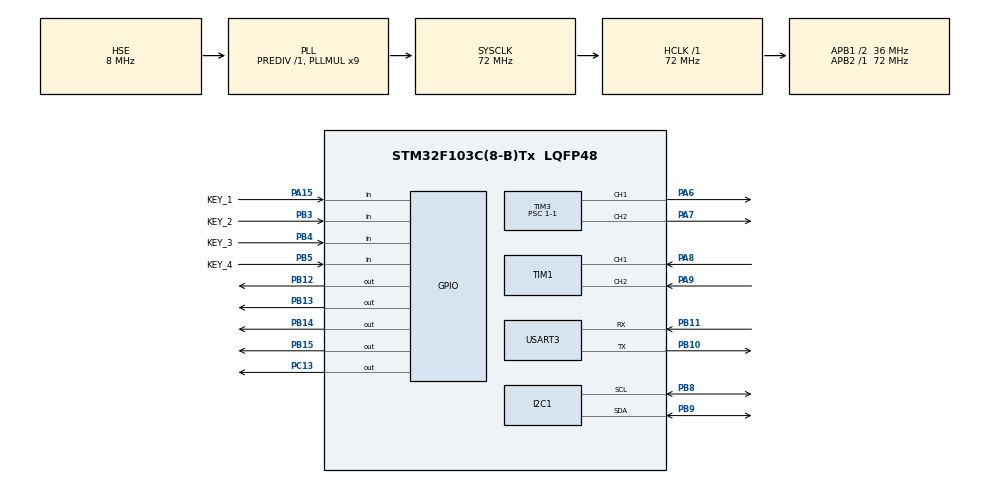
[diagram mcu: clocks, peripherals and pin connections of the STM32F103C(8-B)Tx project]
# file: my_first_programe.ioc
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FREERTOS.Tasks01=defaultTask,24,128,StartDefaultTask,Default,NULL,Dynamic,NULL,NULL;TEST,24,256,StartTask02,Default,NULL,Dynamic,NULL,NULL
FREERTOS.configTOTAL_HEAP_SIZE=6144
I2C1.I2C_Mode=I2C_Fast
Mcu.Family=STM32F1
Mcu.Name=STM32F103C(8-B)Tx
Mcu.Package=LQFP48
NVIC.PriorityGroup=NVIC_PRIORITYGROUP_4
NVIC.TIM2_IRQn=true\:15\:0\:false\:false\:true\:false\:false\:true\:true
NVIC.TimeBase=TIM2_IRQn
NVIC.TimeBaseIP=TIM2
NVIC.USART3_IRQn=true\:5\:0\:false\:false\:true\:true\:true\:true\:true
PA13.Mode=Serial_Wire
PA13.Signal=SYS_JTMS-SWDIO
PA14.Mode=Serial_Wire
PA14.Signal=SYS_JTCK-SWCLK
PA15.GPIO_Label=KEY_1
PA15.GPIO_PuPd=GPIO_PULLUP
PA15.Signal=GPIO_Input
PA6.Signal=S_TIM3_CH1
PA7.Signal=S_TIM3_CH2
PA8.GPIO_PuPd=GPIO_PULLUP
PA8.Signal=S_TIM1_CH1
PA9.GPIO_PuPd=GPIO_PULLUP
PA9.Signal=S_TIM1_CH2
PB10.Mode=Asynchronous
PB10.Signal=USART3_TX
PB11.Mode=Asynchronous
PB11.Signal=USART3_RX
PB12.Signal=GPIO_Output
PB13.Signal=GPIO_Output
PB14.Signal=GPIO_Output
PB15.Signal=GPIO_Output
PB3.GPIO_Label=KEY_2
PB3.GPIO_PuPd=GPIO_PULLUP
PB3.Signal=GPIO_Input
PB4.GPIO_Label=KEY_3
PB4.GPIO_PuPd=GPIO_PULLUP
PB4.Signal=GPIO_Input
PB5.GPIO_Label=KEY_4
PB5.GPIO_PuPd=GPIO_PULLUP
PB5.Signal=GPIO_Input
PB8.Mode=I2C
PB8.Signal=I2C1_SCL
PB9.Mode=I2C
PB9.Signal=I2C1_SDA
PC13-TAMPER-RTC.PinState=GPIO_PIN_SET
PC13-TAMPER-RTC.Signal=GPIO_Output
PD0-OSC_IN.Mode=HSE-External-Oscillator
PD0-OSC_IN.Signal=RCC_OSC_IN
PD1-OSC_OUT.Mode=HSE-External-Oscillator
PD1-OSC_OUT.Signal=RCC_OSC_OUT
ProjectManager.HeapSize=0x200
ProjectManager.StackSize=0x400
ProjectManager.TargetToolchain=CMake
RCC.AHBFreq_Value=72000000
RCC.APB1CLKDivider=RCC_HCLK_DIV2
RCC.APB1Freq_Value=36000000
RCC.APB1TimFreq_Value=72000000
RCC.APB2Freq_Value=72000000
RCC.APB2TimFreq_Value=72000000
RCC.HCLKFreq_Value=72000000
RCC.PLLMUL=RCC_PLL_MUL9
RCC.PLLSourceVirtual=RCC_PLLSOURCE_HSE
RCC.SYSCLKFreq_VALUE=72000000
RCC.SYSCLKSource=RCC_SYSCLKSOURCE_PLLCLK
RCC.USBFreq_Value=72000000
SH.S_TIM1_CH1.0=TIM1_CH1,Encoder_Interface
SH.S_TIM1_CH2.0=TIM1_CH2,Encoder_Interface
SH.S_TIM3_CH1.0=TIM3_CH1,PWM Generation1 CH1
SH.S_TIM3_CH2.0=TIM3_CH2,PWM Generation2 CH2
TIM1.EncoderMode=TIM_ENCODERMODE_TI12
TIM3.Channel-PWM\ Generation1\ CH1=TIM_CHANNEL_1
TIM3.Channel-PWM\ Generation2\ CH2=TIM_CHANNEL_2
TIM3.Period=7200-1
TIM3.Prescaler=1-1
USART3.VirtualMode=VM_ASYNC
VP_FREERTOS_VS_CMSIS_V2.Mode=CMSIS_V2
VP_SYS_VS_tim2.Mode=TIM2
board=custom

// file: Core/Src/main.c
/* USER CODE BEGIN Header */
/**
  ******************************************************************************
  * @file           : main.c
  * @brief          : Main program body
  ******************************************************************************
  * @attention
  *
  * Copyright (c) 2026 STMicroelectronics.
  * All rights reserved.
  *
  * This software is licensed under terms that can be found in the LICENSE file
  * in the root directory of this software component.
  * If no LICENSE file comes with this software, it is provided AS-IS.
  *
  ******************************************************************************
  */
/* USER CODE END Header */
#include "main.h"
#include "cmsis_os.h"
#include "i2c.h"
#include "tim.h"
#include "usart.h"
#include "gpio.h"

/* USER CODE BEGIN Includes */
#include "motor.h"
/* USER CODE END Includes */

void SystemClock_Config(void);
void MX_FREERTOS_Init(void);

int main(void)
{

  /* MCU Configuration--------------------------------------------------------*/

  /* Reset of all peripherals, Initializes the Flash interface and the Systick. */
  HAL_Init();

  /* Configure the system clock */
  SystemClock_Config();

  /* Initialize all configured peripherals */
  MX_GPIO_Init();
  MX_TIM3_Init();
  MX_USART3_UART_Init();
  MX_TIM1_Init();
  MX_I2C1_Init();

  /* Init scheduler */
  osKernelInitialize();  /* Call init function for freertos objects (in cmsis_os2.c) */
  MX_FREERTOS_Init();

  /* Start scheduler */
  osKernelStart();

  /* We should never get here as control is now taken by the scheduler */

  /* Infinite loop */
  while (1)
  {

  }
}

void SystemClock_Config(void)
{
  RCC_OscInitTypeDef RCC_OscInitStruct = {0};
  RCC_ClkInitTypeDef RCC_ClkInitStruct = {0};

  /** Initializes the RCC Oscillators according to the specified parameters
  * in the RCC_OscInitTypeDef structure.
  */
  RCC_OscInitStruct.OscillatorType = RCC_OSCILLATORTYPE_HSE;
  RCC_OscInitStruct.HSEState = RCC_HSE_ON;
  RCC_OscInitStruct.HSEPredivValue = RCC_HSE_PREDIV_DIV1;
  RCC_OscInitStruct.HSIState = RCC_HSI_ON;
  RCC_OscInitStruct.PLL.PLLState = RCC_PLL_ON;
  RCC_OscInitStruct.PLL.PLLSource = RCC_PLLSOURCE_HSE;
  RCC_OscInitStruct.PLL.PLLMUL = RCC_PLL_MUL9;
  if (HAL_RCC_OscConfig(&RCC_OscInitStruct) != HAL_OK)
  {
    Error_Handler();
  }

  /** Initializes the CPU, AHB and APB buses clocks
  */
  RCC_ClkInitStruct.ClockType = RCC_CLOCKTYPE_HCLK|RCC_CLOCKTYPE_SYSCLK
                              |RCC_CLOCKTYPE_PCLK1|RCC_CLOCKTYPE_PCLK2;
  RCC_ClkInitStruct.SYSCLKSource = RCC_SYSCLKSOURCE_PLLCLK;
  RCC_ClkInitStruct.AHBCLKDivider = RCC_SYSCLK_DIV1;
  RCC_ClkInitStruct.APB1CLKDivider = RCC_HCLK_DIV2;
  RCC_ClkInitStruct.APB2CLKDivider = RCC_HCLK_DIV1;

  if (HAL_RCC_ClockConfig(&RCC_ClkInitStruct, FLASH_LATENCY_2) != HAL_OK)
  {
    Error_Handler();
  }
}

void HAL_TIM_PeriodElapsedCallback(TIM_HandleTypeDef *htim)
{
  if (htim->Instance == TIM2)
  {
    HAL_IncTick();
  }
}

void Error_Handler(void)
{
  __disable_irq();
  while (1)
  {
  }
}

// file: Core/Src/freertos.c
/* USER CODE BEGIN Header */
/**
  ******************************************************************************
  * File Name          : freertos.c
  * Description        : Code for freertos applications
  ******************************************************************************
  * @attention
  *
  * Copyright (c) 2026 STMicroelectronics.
  * All rights reserved.
  *
  * This software is licensed under terms that can be found in the LICENSE file
  * in the root directory of this software component.
  * If no LICENSE file comes with this software, it is provided AS-IS.
  *
  ******************************************************************************
  */
/* USER CODE END Header */

#include "FreeRTOS.h"
#include "task.h"
#include "main.h"
#include "cmsis_os.h"

/* USER CODE BEGIN Includes */
#include "usart.h"
#include "motor.h"
#include "oled.h"
#include "menu.h"
#include <stdio.h>
#include <string.h>
#include "encoder.h"
/* USER CODE END Includes */

/* USER CODE BEGIN Variables */
volatile uint32_t test_cnt= 0;

/* USER CODE END Variables */
/* Definitions for defaultTask */
osThreadId_t defaultTaskHandle;
const osThreadAttr_t defaultTask_attributes = {
  .name = "defaultTask",
  .stack_size = 128 * 4,
  .priority = (osPriority_t) osPriorityNormal,
};
/* Definitions for TEST */
osThreadId_t TESTHandle;
const osThreadAttr_t TEST_attributes = {
  .name = "TEST",
  .stack_size = 256 * 4,
  .priority = (osPriority_t) osPriorityNormal,
};

void StartDefaultTask(void *argument);
void StartTask02(void *argument);

void MX_FREERTOS_Init(void); /* (MISRA C 2004 rule 8.1) */

void MX_FREERTOS_Init(void) {

  /* Create the thread(s) */
  /* creation of defaultTask */
  defaultTaskHandle = osThreadNew(StartDefaultTask, NULL, &defaultTask_attributes);

  /* creation of TEST */
  TESTHandle = osThreadNew(StartTask02, NULL, &TEST_attributes);

}

void StartDefaultTask(void *argument)
{
  /* USER CODE BEGIN StartDefaultTask */

	motor_init();
	encoder_init();
  motor_stop();

  for(;;)
  {
    osDelay(1000);
	}
  /* USER CODE END StartDefaultTask */
}

void StartTask02(void *argument)
{
  /* USER CODE BEGIN StartTask02 */
  key_init();
  osDelay(50);            /* 等 OLED 上电稳定 */
  OLED_Init();
  menu_init();
  /* Infinite loop */
  for(;;)
  {
    key_event_t e = key_scan();
     if (e != KEY_NONE)
      {
          menu_handle(e); /* 内部改状态 + 重绘 */
      }
    osDelay(10);
  }
  /* USER CODE END StartTask02 */
}
